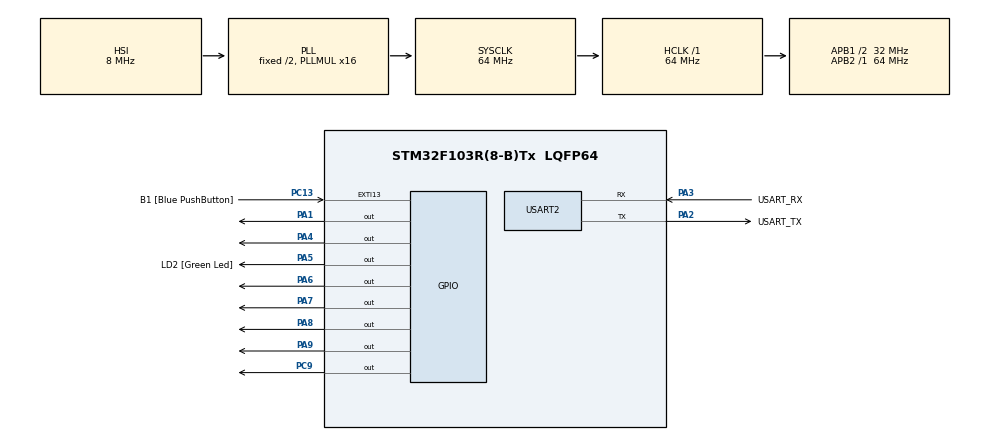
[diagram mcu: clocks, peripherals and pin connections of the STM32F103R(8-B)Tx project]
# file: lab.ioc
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Mcu.Family=STM32F1
Mcu.Name=STM32F103R(8-B)Tx
Mcu.Package=LQFP64
NVIC.EXTI15_10_IRQn=true\:0\:0\:false\:false\:true\:true\:true
NVIC.PriorityGroup=NVIC_PRIORITYGROUP_4
NVIC.TIM4_IRQn=true\:0\:0\:false\:false\:true\:true\:true
PA1.Signal=GPIO_Output
PA13.GPIO_Label=TMS
PA13.Mode=Serial_Wire
PA13.Signal=SYS_JTMS-SWDIO
PA14.GPIO_Label=TCK
PA14.Mode=Serial_Wire
PA14.Signal=SYS_JTCK-SWCLK
PA2.GPIO_Label=USART_TX
PA2.GPIO_Mode=GPIO_MODE_AF_PP
PA2.GPIO_PuPd=GPIO_NOPULL
PA2.GPIO_Speed=GPIO_SPEED_FREQ_LOW
PA2.Mode=Asynchronous
PA2.Signal=USART2_TX
PA3.GPIO_Label=USART_RX
PA3.GPIO_Mode=GPIO_MODE_AF_PP
PA3.GPIO_PuPd=GPIO_NOPULL
PA3.GPIO_Speed=GPIO_SPEED_FREQ_LOW
PA3.Mode=Asynchronous
PA3.Signal=USART2_RX
PA4.Signal=GPIO_Output
PA5.GPIO_Label=LD2 [Green Led]
PA5.GPIO_ModeDefaultOutputPP=GPIO_MODE_OUTPUT_PP
PA5.GPIO_PuPd=GPIO_NOPULL
PA5.GPIO_Speed=GPIO_SPEED_FREQ_LOW
PA5.Signal=GPIO_Output
PA6.Signal=GPIO_Output
PA7.Signal=GPIO_Output
PA8.Signal=GPIO_Output
PA9.Signal=GPIO_Output
PB3.GPIO_Label=SWO
PB3.Signal=SYS_JTDO-TRACESWO
PC13-TAMPER-RTC.GPIO_Label=B1 [Blue PushButton]
PC13-TAMPER-RTC.GPIO_PuPd=GPIO_NOPULL
PC13-TAMPER-RTC.Signal=GPXTI13
PC14-OSC32_IN.Mode=LSE-External-Oscillator
PC14-OSC32_IN.Signal=RCC_OSC32_IN
PC15-OSC32_OUT.Mode=LSE-External-Oscillator
PC15-OSC32_OUT.Signal=RCC_OSC32_OUT
PC9.Signal=GPIO_Output
PD0-OSC_IN.Mode=HSE-External-Clock-Source
PD0-OSC_IN.Signal=RCC_OSC_IN
PD1-OSC_OUT.Mode=HSE-External-Clock-Source
PD1-OSC_OUT.Signal=RCC_OSC_OUT
ProjectManager.HeapSize=0x200
ProjectManager.StackSize=0x400
ProjectManager.TargetToolchain=STM32CubeIDE
RCC.AHBFreq_Value=64000000
RCC.APB1CLKDivider=RCC_HCLK_DIV2
RCC.APB1Freq_Value=32000000
RCC.APB1TimFreq_Value=64000000
RCC.APB2Freq_Value=64000000
RCC.APB2TimFreq_Value=64000000
RCC.HCLKFreq_Value=64000000
RCC.PLLMUL=RCC_PLL_MUL16
RCC.RTCClockSelection=RCC_RTCCLKSOURCE_LSE
RCC.SYSCLKFreq_VALUE=64000000
RCC.SYSCLKSource=RCC_SYSCLKSOURCE_PLLCLK
RCC.USBFreq_Value=64000000
TIM4.Period=2000-1
TIM4.Prescaler=64000
USART2.VirtualMode=VM_ASYNC
VP_TIM4_VS_ClockSourceINT.Mode=Internal
board=NUCLEO-F103RB

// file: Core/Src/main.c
/* USER CODE BEGIN Header */
/**
  ******************************************************************************
  * @file           : main.c
  * @brief          : Main program body
  ******************************************************************************
  * @attention
  *
  * <h2><center>&copy; Copyright (c) 2020 STMicroelectronics.
  * All rights reserved.</center></h2>
  *
  * This software component is licensed by ST under BSD 3-Clause license,
  * the "License"; You may not use this file except in compliance with the
  * License. You may obtain a copy of the License at:
  *                        opensource.org/licenses/BSD-3-Clause
  *
  ******************************************************************************
  */
/* USER CODE END Header */
#include "main.h"

/* USER CODE BEGIN Includes */
#include "stdio.h"
/* USER CODE END Includes */

/* USER CODE BEGIN PTD */
typedef unsigned char tByte;
typedef unsigned int  tWord;
typedef unsigned long tLong;
typedef unsigned int  bit;
typedef struct {
	// Pointer to the task (must be a 'void (void)' function)
	void ( * pTask)(void);
	// Delay (ticks) until the function will (next) be run
	tWord Delay;
	// Interval (ticks) between subsequent runs.
	tWord Period;
	// Incremented (by scheduler) when task is due to execute
	tByte RunMe;
} sTask;

/* USER CODE END PTD */

/* USER CODE BEGIN PD */
#define SCH_MAX_TASKS 5
enum code_G {FALSE, ERROR_SCH_TOO_MANY_TASKS,
			ERROR_SCH_CANNOT_DELETE_TASK,
			ERROR_SCH_WAITING_FOR_SLAVE_TO_ACK,
			ERROR_SCH_WAITING_FOR_START_COMMAND_FROM_MASTER,
			ERROR_SCH_ONE_OR_MORE_SLAVES_DID_NOT_START,
			ERROR_SCH_LOST_SLAVE,
			ERROR_SCH_CAN_BUS_ERROR,
			ERROR_I2C_WRITE_BYTE_AT24C64};
#ifndef TRUE
#define TRUE (!FALSE)
#endif
#define RETURN_NORMAL (bit) 0
#define RETURN_ERROR (bit) 1
/* USER CODE END PD */

TIM_HandleTypeDef htim4;

UART_HandleTypeDef huart2;

/* USER CODE BEGIN PV */
tByte Error_code_G = 0;
char uart_buf[50];
int uart_buf_len;
sTask SCH_tasks_G[SCH_MAX_TASKS];
/* USER CODE END PV */

void SystemClock_Config(void);
static void MX_GPIO_Init(void);
static void MX_USART2_UART_Init(void);
static void MX_TIM4_Init(void);
/* USER CODE BEGIN PFP */

/*Scheduler initialization function.  Prepares scheduler
  data structures and sets up timer interrupts at required rate. */
void SCH_Init_T2(void);
/*This function will be updated the remaining time of each
tasks that are added to a queue. It will be called in the interrupt timer, for
example 10 ms.*/
void SCH_Update(void);
/* This function will get the task in the queue to
run.*/
void SCH_Dispatch_Tasks(void);
/*This function is used to add a task to the queue. It should return an ID that
is corresponding with the added task. */
tByte SCH_Add_Task(void (* pFunction)(), const tWord DELAY, const tWord PERIOD);
/* This function is used to delete the task based on its ID*/
bit SCH_Delete_Task(const tByte taskID);
/*To report errors at any part of the scheduled application*/
void SCH_Report_Status(void);
// to call scheduler enters idle mode
void SCH_Go_To_Sleep(void);
/* 5 Tasks to schedule periodically*/
void TaskA(void);
void TaskB(void);
void TaskC(void);
void TaskD(void);
void TaskE(void);
/* USER CODE END PFP */

int main(void)
{

  /* MCU Configuration--------------------------------------------------------*/

  /* Reset of all peripherals, Initializes the Flash interface and the Systick. */
  HAL_Init();

  /* USER CODE BEGIN Init */
  /*Initialize the Scheduler */
  SCH_Init_T2();
  /* USER CODE END Init */

  /* Configure the system clock */
  SystemClock_Config();

  /* Initialize all configured peripherals */
  MX_GPIO_Init();
  MX_USART2_UART_Init();
  MX_TIM4_Init();
  /* USER CODE BEGIN 2 */
  /* Initialize the timer */
  HAL_TIM_Base_Start_IT(&htim4);
  /* USER CODE END 2 */

  /* Infinite loop */
  while (1)
  {

    /* USER CODE BEGIN 3 */
	  SCH_Dispatch_Tasks();
  }
  /* USER CODE END 3 */
}

void SystemClock_Config(void)
{
  RCC_OscInitTypeDef RCC_OscInitStruct = {0};
  RCC_ClkInitTypeDef RCC_ClkInitStruct = {0};

  /** Initializes the RCC Oscillators according to the specified parameters
  * in the RCC_OscInitTypeDef structure.
  */
  RCC_OscInitStruct.OscillatorType = RCC_OSCILLATORTYPE_HSI;
  RCC_OscInitStruct.HSIState = RCC_HSI_ON;
  RCC_OscInitStruct.HSICalibrationValue = RCC_HSICALIBRATION_DEFAULT;
  RCC_OscInitStruct.PLL.PLLState = RCC_PLL_ON;
  RCC_OscInitStruct.PLL.PLLSource = RCC_PLLSOURCE_HSI_DIV2;
  RCC_OscInitStruct.PLL.PLLMUL = RCC_PLL_MUL16;
  if (HAL_RCC_OscConfig(&RCC_OscInitStruct) != HAL_OK)
  {
    Error_Handler();
  }
  /** Initializes the CPU, AHB and APB buses clocks
  */
  RCC_ClkInitStruct.ClockType = RCC_CLOCKTYPE_HCLK|RCC_CLOCKTYPE_SYSCLK
                              |RCC_CLOCKTYPE_PCLK1|RCC_CLOCKTYPE_PCLK2;
  RCC_ClkInitStruct.SYSCLKSource = RCC_SYSCLKSOURCE_PLLCLK;
  RCC_ClkInitStruct.AHBCLKDivider = RCC_SYSCLK_DIV1;
  RCC_ClkInitStruct.APB1CLKDivider = RCC_HCLK_DIV2;
  RCC_ClkInitStruct.APB2CLKDivider = RCC_HCLK_DIV1;

  if (HAL_RCC_ClockConfig(&RCC_ClkInitStruct, FLASH_LATENCY_2) != HAL_OK)
  {
    Error_Handler();
  }
}

static void MX_TIM4_Init(void)
{

  TIM_ClockConfigTypeDef sClockSourceConfig = {0};
  TIM_MasterConfigTypeDef sMasterConfig = {0};

  htim4.Instance = TIM4;
  htim4.Init.Prescaler = 64000;
  htim4.Init.CounterMode = TIM_COUNTERMODE_UP;
  htim4.Init.Period = 2000-1;
  htim4.Init.ClockDivision = TIM_CLOCKDIVISION_DIV1;
  htim4.Init.AutoReloadPreload = TIM_AUTORELOAD_PRELOAD_DISABLE;
  if (HAL_TIM_Base_Init(&htim4) != HAL_OK)
  {
    Error_Handler();
  }
  sClockSourceConfig.ClockSource = TIM_CLOCKSOURCE_INTERNAL;
  if (HAL_TIM_ConfigClockSource(&htim4, &sClockSourceConfig) != HAL_OK)
  {
    Error_Handler();
  }
  sMasterConfig.MasterOutputTrigger = TIM_TRGO_RESET;
  sMasterConfig.MasterSlaveMode = TIM_MASTERSLAVEMODE_DISABLE;
  if (HAL_TIMEx_MasterConfigSynchronization(&htim4, &sMasterConfig) != HAL_OK)
  {
    Error_Handler();
  }

}

static void MX_USART2_UART_Init(void)
{

  huart2.Instance = USART2;
  huart2.Init.BaudRate = 115200;
  huart2.Init.WordLength = UART_WORDLENGTH_8B;
  huart2.Init.StopBits = UART_STOPBITS_1;
  huart2.Init.Parity = UART_PARITY_NONE;
  huart2.Init.Mode = UART_MODE_TX_RX;
  huart2.Init.HwFlowCtl = UART_HWCONTROL_NONE;
  huart2.Init.OverSampling = UART_OVERSAMPLING_16;
  if (HAL_UART_Init(&huart2) != HAL_OK)
  {
    Error_Handler();
  }

}

static void MX_GPIO_Init(void)
{
  GPIO_InitTypeDef GPIO_InitStruct = {0};

  /* GPIO Ports Clock Enable */
  __HAL_RCC_GPIOC_CLK_ENABLE();
  __HAL_RCC_GPIOD_CLK_ENABLE();
  __HAL_RCC_GPIOA_CLK_ENABLE();
  __HAL_RCC_GPIOB_CLK_ENABLE();

  /*Configure GPIO pin Output Level */
  HAL_GPIO_WritePin(GPIOA, GPIO_PIN_1|GPIO_PIN_4|LD2_Pin|GPIO_PIN_6
                          |GPIO_PIN_7|GPIO_PIN_8|GPIO_PIN_9, GPIO_PIN_RESET);

  /*Configure GPIO pin Output Level */
  HAL_GPIO_WritePin(GPIOC, GPIO_PIN_9, GPIO_PIN_RESET);

  /*Configure GPIO pin : B1_Pin */
  GPIO_InitStruct.Pin = B1_Pin;
  GPIO_InitStruct.Mode = GPIO_MODE_IT_RISING;
  GPIO_InitStruct.Pull = GPIO_NOPULL;
  HAL_GPIO_Init(B1_GPIO_Port, &GPIO_InitStruct);

  /*Configure GPIO pins : PA1 PA4 LD2_Pin PA6
                           PA7 PA8 PA9 */
  GPIO_InitStruct.Pin = GPIO_PIN_1|GPIO_PIN_4|LD2_Pin|GPIO_PIN_6
                          |GPIO_PIN_7|GPIO_PIN_8|GPIO_PIN_9;
  GPIO_InitStruct.Mode = GPIO_MODE_OUTPUT_PP;
  GPIO_InitStruct.Pull = GPIO_NOPULL;
  GPIO_InitStruct.Speed = GPIO_SPEED_FREQ_LOW;
  HAL_GPIO_Init(GPIOA, &GPIO_InitStruct);

  /*Configure GPIO pin : PC9 */
  GPIO_InitStruct.Pin = GPIO_PIN_9;
  GPIO_InitStruct.Mode = GPIO_MODE_OUTPUT_PP;
  GPIO_InitStruct.Pull = GPIO_NOPULL;
  GPIO_InitStruct.Speed = GPIO_SPEED_FREQ_LOW;
  HAL_GPIO_Init(GPIOC, &GPIO_InitStruct);

  /* EXTI interrupt init*/
  HAL_NVIC_SetPriority(EXTI15_10_IRQn, 0, 0);
  HAL_NVIC_EnableIRQ(EXTI15_10_IRQn);

}

/* USER CODE BEGIN 4 */
void SCH_Init_T2(void) {
   tByte i;
   for (i = 0; i < SCH_MAX_TASKS; i++)
      {
	   SCH_Delete_Task(i);
      }
   // Reset the global error variable
   // - SCH_Delete_Task() will generate an error code,
   //   (because the task array is empty)
   Error_code_G = 0;
   uart_buf_len = sprintf(uart_buf, "ADD SUCCESFUL \r\n");
   HAL_UART_Transmit(&huart2, (uint8_t *) uart_buf, uart_buf_len, 100);;
   SCH_Add_Task(TaskA,1,1);
   SCH_Add_Task(TaskB,2,1);
   SCH_Add_Task(TaskC,3,1);
   SCH_Add_Task(TaskD,4,1);
   SCH_Add_Task(TaskE,5,1);
}

void TaskA(void){
	HAL_GPIO_WritePin(GPIOA, GPIO_PIN_1,GPIO_PIN_SET);
	uart_buf_len = sprintf(uart_buf, "Task 0 is processing...");
	HAL_UART_Transmit(&huart2, (uint8_t *) uart_buf, uart_buf_len, 100);
	HAL_Delay(1000);
	uart_buf_len = sprintf(uart_buf, "Done\r\n");
	HAL_UART_Transmit(&huart2, (uint8_t *) uart_buf, uart_buf_len, 100);
	HAL_GPIO_WritePin(GPIOA, GPIO_PIN_1,GPIO_PIN_RESET);
}

void TaskB(void){
	HAL_GPIO_WritePin(GPIOA, GPIO_PIN_6,GPIO_PIN_SET);
	uart_buf_len = sprintf(uart_buf, "Task 1 is processing...");
	HAL_UART_Transmit(&huart2, (uint8_t *) uart_buf, uart_buf_len, 100);
	HAL_Delay(1000);
	uart_buf_len = sprintf(uart_buf, "Done\r\n");
	HAL_UART_Transmit(&huart2, (uint8_t *) uart_buf, uart_buf_len, 100);
	HAL_GPIO_WritePin(GPIOA, GPIO_PIN_6,GPIO_PIN_RESET);
}

void TaskC(void){
	HAL_GPIO_WritePin(GPIOA, GPIO_PIN_7,GPIO_PIN_SET);
	uart_buf_len = sprintf(uart_buf, "Task 2 is processing...");
	HAL_UART_Transmit(&huart2, (uint8_t *) uart_buf, uart_buf_len, 100);
	HAL_Delay(1000);
	uart_buf_len = sprintf(uart_buf, "Done\r\n");
	HAL_UART_Transmit(&huart2, (uint8_t *) uart_buf, uart_buf_len, 100);
	HAL_GPIO_WritePin(GPIOA, GPIO_PIN_7,GPIO_PIN_RESET);
}

void TaskD(void){
	HAL_GPIO_WritePin(GPIOA, GPIO_PIN_8,GPIO_PIN_SET);
	uart_buf_len = sprintf(uart_buf, "Task 3 is processing...");
	HAL_UART_Transmit(&huart2, (uint8_t *) uart_buf, uart_buf_len, 100);
	HAL_Delay(1000);
	uart_buf_len = sprintf(uart_buf, "Done\r\n");
	HAL_UART_Transmit(&huart2, (uint8_t *) uart_buf, uart_buf_len, 100);
	HAL_GPIO_WritePin(GPIOA, GPIO_PIN_8,GPIO_PIN_RESET);
}

void TaskE(void){
	HAL_GPIO_WritePin(GPIOA, GPIO_PIN_9,GPIO_PIN_SET);
	uart_buf_len = sprintf(uart_buf, "Task 4 is processing...");
	HAL_UART_Transmit(&huart2, (uint8_t *) uart_buf, uart_buf_len, 100);
	HAL_Delay(1000);
	uart_buf_len = sprintf(uart_buf, "Done\r\n");
	HAL_UART_Transmit(&huart2, (uint8_t *) uart_buf, uart_buf_len, 100);
	HAL_GPIO_WritePin(GPIOA, GPIO_PIN_9,GPIO_PIN_RESET);
}

void SCH_Update(void) {
	tByte Index;
// NOTE: calculations are in *TICKS* (not milliseconds)
	for (Index = 0; Index < SCH_MAX_TASKS; Index++) {
		// Check if there is a task at this location
		if (SCH_tasks_G[Index].pTask) {
			uart_buf_len = sprintf(uart_buf, "Task %d. Remaining %d \r\n",Index,SCH_tasks_G[Index].Delay);
			HAL_UART_Transmit(&huart2, (uint8_t *) uart_buf, uart_buf_len, 100);
			if (SCH_tasks_G[Index].Delay == 0) {
				// The task is due to run
				SCH_tasks_G[Index].RunMe += 1; // Inc. the 'RunMe' flag
				if (SCH_tasks_G[Index].Period) {
					// Schedule periodic tasks to run again
					SCH_tasks_G[Index].Delay = SCH_tasks_G[Index].Period;
				}
			} else {
				// Not yet ready to run: just decrement the delay
				SCH_tasks_G[Index].Delay -= 1;
			}
		}
	}
}

tByte SCH_Add_Task(void (* pFunction)(), const tWord DELAY, const tWord PERIOD) {
	tByte Index = 0;
// First find a gap in the array (if there is one)
	while ((SCH_tasks_G[Index].pTask != 0) && (Index < SCH_MAX_TASKS)) {
		Index++;
	}
	if (Index == SCH_MAX_TASKS) {// Have we reached the end of the list?
// Task list is full, Set the global error variable
		Error_code_G = ERROR_SCH_TOO_MANY_TASKS;
		return SCH_MAX_TASKS; // Also return an error code
	}
// If we're here, there is a space in the task array
	SCH_tasks_G[Index].pTask = pFunction;
	SCH_tasks_G[Index].Delay = DELAY;
	SCH_tasks_G[Index].Period = PERIOD;
	SCH_tasks_G[Index].RunMe = 0;
	return Index; // return position of task (to allow later deletion)
}

void SCH_Dispatch_Tasks(void) {
	tByte Index;
	// Dispatches (runs) the next task (if one is ready)
	for (Index = 0; Index < SCH_MAX_TASKS; Index++) {
		if (SCH_tasks_G[Index].RunMe > 0) {
			HAL_GPIO_WritePin(GPIOA, GPIO_PIN_5,GPIO_PIN_SET);
			(*SCH_tasks_G[Index].pTask)(); // Run the task
			SCH_tasks_G[Index].RunMe -= 1; // Reset / reduce RunMe flag
			// Periodic tasks will automatically run again
			// - if this is a 'one shot' task, remove it from the array
			if (SCH_tasks_G[Index].Period == 0) SCH_Delete_Task(Index);
		}
	}
	SCH_Report_Status(); // Report system status
	SCH_Go_To_Sleep(); // The scheduler enters idle mode at this point
}

bit SCH_Delete_Task(const tByte TASK_INDEX) {
   bit Return_code;
   if (SCH_tasks_G[TASK_INDEX].pTask == 0){
      // No task at this location...
      // Set the global error variable
	   uart_buf_len = sprintf(uart_buf, "ERROR_SCH_CANNOT_DELETE_TASK \r\n");
	   HAL_UART_Transmit(&huart2, (uint8_t *) uart_buf, uart_buf_len, 100);
	   Error_code_G = ERROR_SCH_CANNOT_DELETE_TASK;
	   // ...also return an error code
	   Return_code = RETURN_ERROR;
      } else{
    	  Return_code = RETURN_NORMAL;
      }
   uart_buf_len = sprintf(uart_buf, "TASK %d DELETE \r\n", TASK_INDEX);
   HAL_UART_Transmit(&huart2, (uint8_t *) uart_buf, uart_buf_len, 100);
   SCH_tasks_G[TASK_INDEX].pTask   = 0x0000;
   SCH_tasks_G[TASK_INDEX].Delay   = 0;
   SCH_tasks_G[TASK_INDEX].Period  = 0;
   SCH_tasks_G[TASK_INDEX].RunMe   = 0;
   return Return_code;       // return status
}

void SCH_Report_Status(void) {
	#ifdef SCH_REPORT_ERRORS // ONLY APPLIES IF WE ARE REPORTING ERRORS
	// Check for a new error code
	if (Error_code_G != Last_error_code_G) {
		// Negative logic on LEDs assumed
		Error_port = 255 - Error_code_G;
		Last_error_code_G = Error_code_G;
		if (Error_code_G != 0) {
			Error_tick_count_G = 60000;
		} else {
			Error_tick_count_G = 0;
		}
	} else {
		if (Error_tick_count_G != 0) {
			if (--Error_tick_count_G == 0) {
				Error_code_G = 0; // Reset error code
			}
		}
	}
#endif
	//uart_buf_len = sprintf(uart_buf, "ERROR CODE, %d \r\n", Error_code_G);
	//HAL_UART_Transmit(&huart2, (uint8_t *) uart_buf, uart_buf_len, 100);
}

void SCH_Go_To_Sleep(void){
	//PCON
	// INTERUPT HTIM4
	//uart_buf_len = sprintf(uart_buf, "HET VIEC, DI NGU THOI \r\n");
	//HAL_UART_Transmit(&huart2, (uint8_t *) uart_buf, uart_buf_len, 100);
	HAL_GPIO_WritePin(GPIOA, GPIO_PIN_5,GPIO_PIN_RESET);
}

void HAL_TIM_PeriodElapsedCallback(TIM_HandleTypeDef *htim) {
	SCH_Update();
}
/* USER CODE END 4 */

void Error_Handler(void)
{
}

/************************ (C) COPYRIGHT STMicroelectronics *****END OF FILE****/
